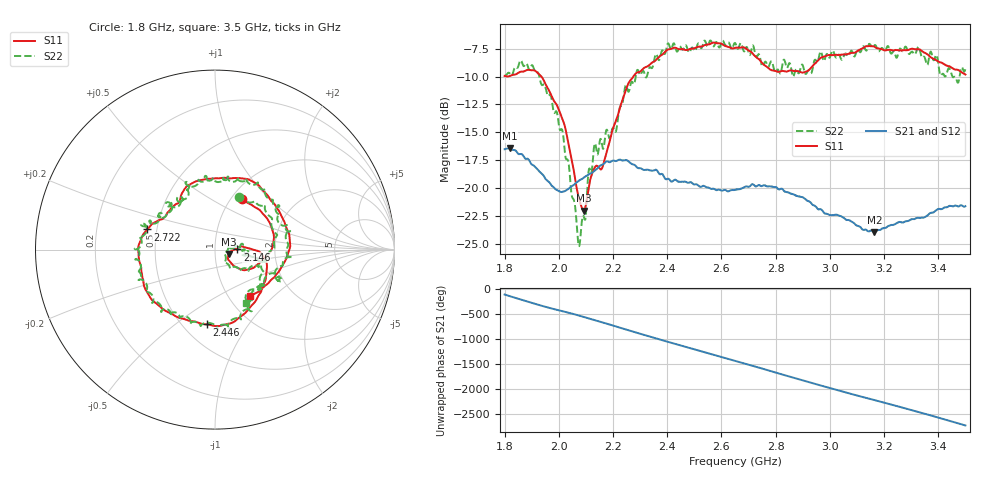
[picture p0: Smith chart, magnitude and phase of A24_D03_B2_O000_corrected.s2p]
! Created with skrf 1.9.0 (http://scikit-rf.org).
# Hz S RI R 50.0
!freq ReS11 ImS11 ReS21 ImS21 ReS12 ImS12 ReS22 ImS22
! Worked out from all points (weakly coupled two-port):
!   1601 points, 1.8 GHz to 3.5 GHz, reference 50 ohm
!   highest |S21| = -16.43 dB at 1.818 GHz (marker M1); lowest = -24.0 dB at 3.164 GHz (marker M2)
!   lowest |S11| = -22.1 dB at 2.092 GHz (marker M3), VSWR 1.17, Z = 58.1 - j2.78 ohm
!   |S11| at or under -10 dB: 1.936 GHz to 2.275 GHz (338.9 MHz wide, 16.1 % of centre)
!   |S22| runs from -25.2 to -6.8 dB; largest |S21 - S12| = 0.0026
!   S11 on the Smith chart (normalised r, x): 1.8 GHz: 1.13, +0.70; 2.146 GHz: 1.28, +0.00; 2.446 GHz: 0.65, -0.66; 2.722 GHz: 0.44, +0.12; 3.5 GHz: 1.26, -0.72
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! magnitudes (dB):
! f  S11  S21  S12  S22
! 1.8 GHz  -9.9  -16.5  -16.5  -9.8
! 1.818 GHz  -10.0  -16.4  -16.4  -9.7
! 1.903 GHz  -9.4  -17.9  -17.9  -9.0
! 1.968 GHz  -11.4  -19.6  -19.6  -11.6
! 2.015 GHz  -13.9  -20.3  -20.4  -15.0
! 2.072 GHz  -20.7  -19.4  -19.4  -25.0
! 2.084 GHz  -21.7  -19.2  -19.2  -23.3
! 2.092 GHz  -22.1  -19.1  -19.1  -22.6
! 2.113 GHz  -19.5  -18.7  -18.8  -18.2
! 2.146 GHz  -18.1  -18.2  -18.1  -16.7
! 2.209 GHz  -14.1  -17.6  -17.5  -15.0
! 2.259 GHz  -10.5  -17.6  -17.6  -11.3
! 2.367 GHz  -8.3  -18.6  -18.6  -8.5
! 2.446 GHz  -7.5  -19.5  -19.4  -7.3
! 2.65 GHz  -7.4  -20.2  -20.1  -7.0
! 2.722 GHz  -8.1  -19.8  -19.7  -7.7
! 2.803 GHz  -9.5  -20.0  -20.0  -9.5
! 2.934 GHz  -9.1  -21.5  -21.4  -9.6
! 3.164 GHz  -7.3  -24.0  -23.9  -7.2
! 3.217 GHz  -7.6  -23.4  -23.4  -7.4
! 3.469 GHz  -9.4  -21.6  -21.6  -10.4
! 3.5 GHz  -9.8  -21.6  -21.6  -9.3
